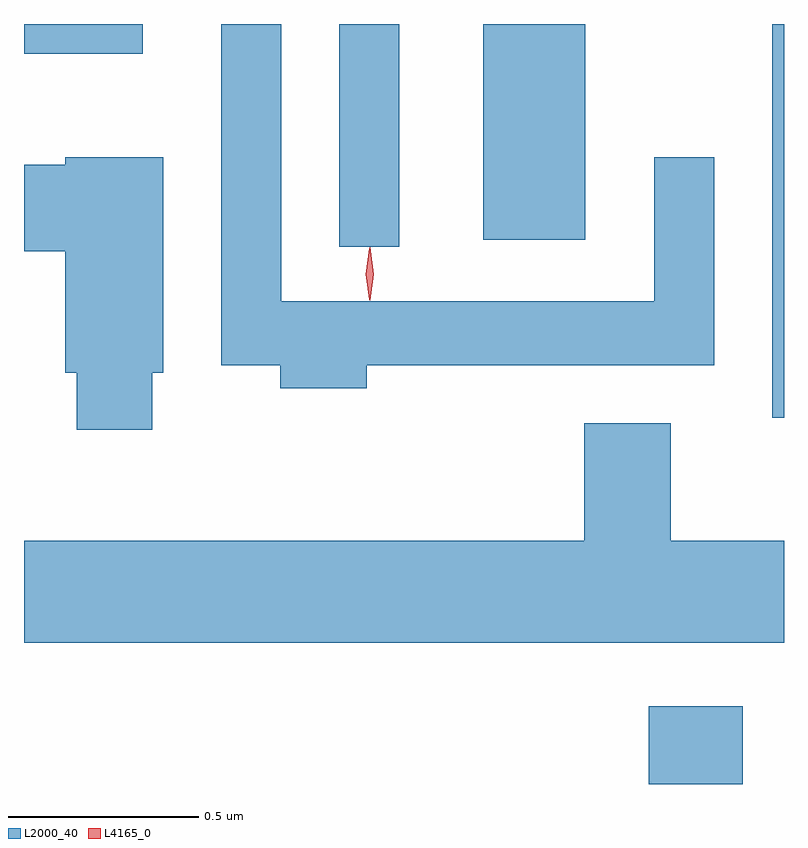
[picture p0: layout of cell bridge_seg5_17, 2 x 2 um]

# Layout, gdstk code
import gdstk
lib = gdstk.Library(unit=1e-6, precision=1e-09)
def R(c, l, rs):  # rectangles x0, y0, x1, y1
    for r in rs: c.add(gdstk.rectangle(r[:2], r[2:], *l))
def P(c, l, *ps):  # polygons
    for p in ps: c.add(gdstk.Polygon(p, *l))
L2000_40 = (2000, 40)
L4165_0 = (4165, 0)

bridge_seg5_17 = lib.new_cell('bridge_seg5_17')
R(bridge_seg5_17, L2000_40, [(1257.611,1476.404,1257.859,1476.609), (1257.936,1477.368,1257.967,1478.404), (1256.796,1477.818,1256.954,1478.404), (1257.176,1477.836,1257.444,1478.404), (1255.967,1478.326,1256.279,1478.404)])
P(bridge_seg5_17, L2000_40, [(1256.869,1477.506),(1257.784,1477.506),(1257.784,1478.053),(1257.626,1478.053),(1257.626,1477.674),(1256.644,1477.674),(1256.644,1478.404),(1256.486,1478.404),(1256.486,1477.506),(1256.641,1477.506),(1256.641,1477.446),(1256.869,1477.446)],
  [(1256.304,1477.486),(1256.334,1477.486),(1256.334,1478.054),(1256.076,1478.054),(1256.076,1478.034),(1255.967,1478.034),(1255.967,1477.806),(1256.076,1477.806),(1256.076,1477.486),(1256.106,1477.486),(1256.106,1477.336),(1256.304,1477.336)],
  [(1257.967,1477.044),(1257.669,1477.044),(1257.669,1477.354),(1257.441,1477.354),(1257.441,1477.044),(1255.967,1477.044),(1255.967,1476.776),(1257.967,1476.776)])
P(bridge_seg5_17, L4165_0, [(1256.877,1477.677),(1256.868,1477.747),(1256.877,1477.816),(1256.878,1477.816),(1256.878,1477.816),(1256.888,1477.746),(1256.878,1477.677),(1256.878,1477.677)],
  [(1256.876,1477.679),(1256.876,1477.68),(1256.866,1477.746),(1256.876,1477.812),(1256.876,1477.813),(1256.877,1477.812),(1256.886,1477.746),(1256.877,1477.68)])

lib.write_gds('bridge_seg5_17.gds')
